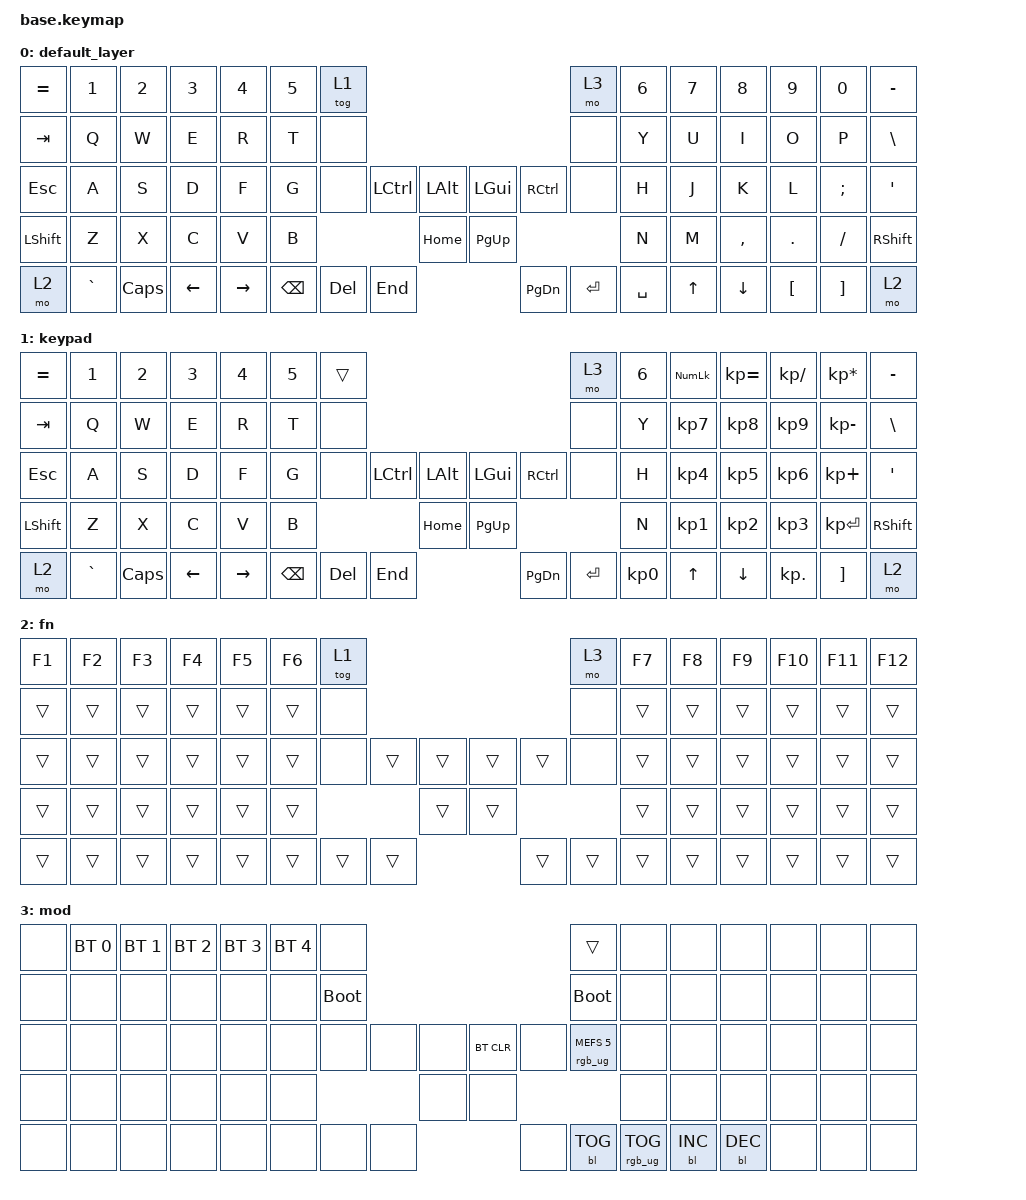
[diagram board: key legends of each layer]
#include <behaviors.dtsi>
#include <dt-bindings/zmk/keys.h>
#if CONFIG_WIRELESS
    #include <dt-bindings/zmk/bt.h>
    #define _BT_SEL_KEYS_ &bt BT_SEL 0 &bt BT_SEL 1 &bt BT_SEL 2 &bt BT_SEL 3 &bt BT_CLR
#else
    #define _BT_SEL_KEYS_ &trans &trans &trans &trans &trans
#endif

#include "../zmk-nodefree-config/helper.h"
#include "../zmk-nodefree-config/international_chars/greek.dtsi"
#include "../zmk-nodefree-config/international_chars/german.dtsi"

#define DEF 0
#define NAV 1
#define FN 2
#define NUM 3
#define SYS 4
#define UC 5
#define MOUSE 6

#include "combos.dtsi"  // requires layer aliases
#include "mouse.dtsi"
#include "extra_keys.h"

#define XXX &none
#define ___ &trans

/* Global settings */

#define QUICK_TAP_MS 175

&sk {  // sticky-key config
    release-after-ms = <900>;  // release after 0.6s
    quick-release;             // no double capitalization when rolling keys
};

&sl {  // sticky-layer config
    ignore-modifiers;          // allow chording sticky mods & layers
};

&lt {  // layer-tap config
    flavor = "balanced";
    tapping-term-ms = <200>;
    quick-tap-ms = <QUICK_TAP_MS>;
};

/* Homerow mods */

#define KEYS_L LT0 LT1 LT2 LT3 LT4 LM0 LM1 LM2 LM3 LM4 LB0 LB1 LB2 LB3 LB4  // left hand
#define KEYS_R RT0 RT1 RT2 RT3 RT4 RM0 RM1 RM2 RM3 RM4 RB0 RB1 RB2 RB3 RB4  // right hand
#define THUMBS LH2 LH1 LH0 RH0 RH1 RH2                                      // thumbs

#define MAKE_HRM(NAME, HOLD, TAP, TRIGGER_POS) \
    ZMK_BEHAVIOR(NAME, hold_tap, \
        flavor = "balanced"; \
        tapping-term-ms = <280>; \
        quick-tap-ms = <QUICK_TAP_MS>; \
        global-quick-tap-ms = <150>; \
        bindings = <HOLD>, <TAP>; \
        hold-trigger-key-positions = <TRIGGER_POS>; \
        hold-trigger-on-release; \
    )
MAKE_HRM(hml, &kp, &kp, KEYS_R THUMBS)  // left-hand HRMs
MAKE_HRM(hmr, &kp, &kp, KEYS_L THUMBS)  // right-hand HRMs

MAKE_HRM(hml_repeat, &kp, &key_repeat, KEYS_R THUMBS)  // used for HRM-combo
MAKE_HRM(hmr_lpar_lt, &kp, &lpar_lt, KEYS_L THUMBS)    // "    "   "   "
MAKE_HRM(hmr_rpar_gt, &kp, &rpar_gt, KEYS_L THUMBS)    // "    "   "   "

/* Nav cluster */

// long-tap action on hold, short-tap action on all interrupts
#define MT_CORE \
    flavor = "tap-preferred"; \
    tapping-term-ms = <220>; \
    quick-tap-ms = <220>; \
    hold-trigger-key-positions = <0>;

&mt { MT_CORE };
ZMK_BEHAVIOR(mt_home, hold_tap, bindings = <&masked_home>, <&kp>; MT_CORE)
ZMK_BEHAVIOR(mt_end,  hold_tap,  bindings = <&masked_end>, <&kp>; MT_CORE)

#define NAV_LEFT  &mt_home 0   LEFT    // tap: left  | long-tap: beginning of line
#define NAV_RIGHT &mt_end 0    RIGHT   // tap: right | long-tap: end       of line
#define NAV_UP    &mt LC(HOME) UP      // tap: up    | long-tap: beginning of document
#define NAV_DOWN  &mt LC(END)  DOWN    // tap: down  | long-tap: end       of document
#define NAV_BSPC  &mt LC(BSPC) BSPC    // tap: bspc  | long-tap: delete word backward
#define NAV_DEL   &mt LC(DEL)  DEL     // tap: del   | long-tap: delete word forward

// mask CTRL when holding left/right to avoid accidental jumps to beginning/end of document
#define MASK_MODS(NAME, MODS, BINDING) \
    ZMK_BEHAVIOR(NAME, mod_morph, \
        bindings = <BINDING>, <BINDING>; \
        mods = <MODS>; \
    )
MASK_MODS(masked_home, (MOD_LCTL), &kp HOME)
MASK_MODS(masked_end,  (MOD_LCTL), &kp END)

/* Caps-word, num-word and smart-mouse */

// tap: sticky-shift | shift + tap/ double-tap: caps-word | hold: shift
ZMK_BEHAVIOR(smart_shft, mod_morph,
    bindings = <&sk LSHFT>, <&caps_word>;
    mods = <(MOD_LSFT)>;
)
&caps_word {  // mods deactivate caps-word, requires PR #1451
    /delete-property/ ignore-modifiers;
};

// tap: num-word | double-tap: sticky num-layer | hold: num-layer
#define SMART_NUM &smart_num NUM 0
ZMK_BEHAVIOR(smart_num, hold_tap,
    flavor = "balanced";
    tapping-term-ms = <200>;
    quick-tap-ms = <QUICK_TAP_MS>;
    bindings = <&mo>, <&num_dance>;
)
ZMK_BEHAVIOR(num_dance, tap_dance,
    tapping-term-ms = <200>;
    bindings = <&num_word>, <&sl NUM>;  // reverse this for sticky-num on single tap
)
&num_word {  // num-word, requires PR #1451
    layers = <NUM>;
    continue-list = <BSPC DEL DOT COMMA PLUS MINUS STAR FSLH EQUAL>;
};

// smart-mouse, requires PR #1366
ZMK_BEHAVIOR(smart_mouse, tri_state,
    bindings = <&tog MOUSE>, <&none>, <&tog MOUSE>;
    ignored-key-positions = <LT1 LT3 RT1 RT2 RT3 RM1 RM2 RM3 RH0 RH1>;
    ignored-layers = <MOUSE>;
)

/* Custom behaviors */

// Alt+Tab swapper, requires PR #1366
ZMK_BEHAVIOR(swapper, tri_state,
    bindings = <&kt LALT>, <&kp TAB>, <&kt LALT>;
    ignored-key-positions = <LT2>;
)

// Sticky layer + sticky shift (workaround for issue #1421)
ZMK_BEHAVIOR(sls, sticky_key,
    release-after-ms = <1000>;
    bindings = <&uc_shift>;
    ignore-modifiers;
)
ZMK_BEHAVIOR(uc_shift, macro,
    wait-ms = <0>;
    tap-ms = <1>;
    bindings = <&macro_press &mo UC &kp LSHFT>
             , <&macro_pause_for_release>
             , <&macro_release &mo UC &kp LSHFT>;
)

// tap: comma | shift + tap: semicolon | ctrl + shift + tap: <
ZMK_BEHAVIOR(comma_morph, mod_morph,
    mods = <(MOD_LSFT|MOD_RSFT)>;
    bindings = <&kp COMMA>, <&comma_inner_morph>;
)
ZMK_BEHAVIOR(comma_inner_morph, mod_morph,
    bindings = <&kp SEMICOLON>, <&kp LESS_THAN>;
    mods = <(MOD_LCTL|MOD_RCTL)>;
)

// tap: dot | shift + tap: colon | ctrl + shift + tap: >
ZMK_BEHAVIOR(dot_morph, mod_morph,
    bindings = <&kp DOT>, <&dot_inner_morph>;
    mods = <(MOD_LSFT|MOD_RSFT)>;
)
ZMK_BEHAVIOR(dot_inner_morph, mod_morph,
    bindings = <&kp COLON>, <&kp GREATER_THAN>;
    mods = <(MOD_LCTL|MOD_RCTL)>;
)

// tap: qmark | shift + tap: excl
ZMK_BEHAVIOR(qexcl, mod_morph,
    bindings = <&kp QMARK>, <&kp EXCL>;
    mods = <(MOD_LSFT|MOD_RSFT)>;
)

// tap: space | shift + tap: dot -> space -> sticky shift | hold: activate layer
ZMK_BEHAVIOR(lt_spc, hold_tap,
    flavor = "balanced";
    tapping-term-ms = <200>;
    quick-tap-ms = <QUICK_TAP_MS>;
    bindings = <&mo>, <&spc_morph>;
)
ZMK_BEHAVIOR(spc_morph, mod_morph,
    bindings = <&kp SPACE>, <&dot_spc>;
    mods = <(MOD_LSFT|MOD_RSFT)>;
)
ZMK_BEHAVIOR(dot_spc, macro,
    wait-ms = <0>;
    tap-ms = <5>;
    bindings = <&kp DOT &kp SPACE &sk LSHFT>;
)

// tap: backspace | lshft + tap: delete | rshft + tap: shift-delete
ZMK_BEHAVIOR(bs_del, mod_morph,
    bindings = <&kp BSPC>, <&kp DEL>;
    mods = <(MOD_LSFT|MOD_RSFT)>;
    keep-mods = <MOD_RSFT>;
)

// tap: left-parenthesis | shft + tap: less-than
ZMK_BEHAVIOR(lpar_lt, mod_morph,
    bindings = <&kp LPAR>, <&kp LT>;
    mods = <(MOD_LSFT|MOD_RSFT)>;
)

// tap: right-parenthesis | shft + tap: greater-than
ZMK_BEHAVIOR(rpar_gt, mod_morph,
    bindings = <&kp RPAR>, <&kp GT>;
    mods = <(MOD_LSFT|MOD_RSFT)>;
)

// tap: copy | double-tap: cut
ZMK_BEHAVIOR(copy_cut, tap_dance,
    tapping-term-ms = <200>;
    bindings = <&kp LC(INS)>, <&kp LC(X)>;
)

// Windows sleep key
ZMK_BEHAVIOR(win_sleep, macro,
    wait-ms = <500>;
    tap-ms = <50>;
    bindings = <&kp LG(X) &kp U &kp S>;
)

// misc aliases
#define CANCEL      &kp K_CANCEL             // cancel caps-word, num-word and smart-mouse
#define DSK_PREV    &hmr RSHFT LG(LC(LEFT))  // previous desktop
#define DSK_NEXT    &hmr LALT LG(LC(RIGHT))  // next     desktop
#define VOL_DOWN    &hmr LCTRL C_VOL_DN

/* Keymap */

keymap {
    compatible = "zmk,keymap";

    default_layer {
      bindings = <
        &kp EQUAL &kp N1    &kp N2   &kp N3   &kp N4     &kp N5 &tog 1                                                           &mo 3 &kp N6 &kp N7 &kp N8    &kp N9   &kp N0   &kp MINUS
        &kp TAB   &kp Q     &kp W    &kp E    &kp R      &kp T  &none                                                            &none &kp Y  &kp U  &kp I     &kp O    &kp P    &kp BSLH
        &kp ESC   &kp A     &kp S    &kp D    &kp F      &kp G  &none           &kp LCTRL &kp LALT &kp LGUI  &kp RCTRL           &none &kp H  &kp J  &kp K     &kp L    &kp SEMI &kp SQT
        &kp LSHFT &kp Z     &kp X    &kp C    &kp V      &kp B                            &kp HOME &kp PG_UP                           &kp N  &kp M  &kp COMMA &kp DOT  &kp FSLH &kp RSHFT
        &mo 2     &kp GRAVE &kp CAPS &kp LEFT &kp RIGHT                &kp BSPC &kp DEL   &kp END  &kp PG_DN &kp ENTER &kp SPACE              &kp UP &kp DOWN  &kp LBKT &kp RBKT &mo 2
      >;
    };
    keypad {
      bindings = <
        &kp EQUAL &kp N1    &kp N2   &kp N3   &kp N4     &kp N5 &trans                                                           &mo 3 &kp N6 &kp KP_NUM &kp KP_EQUAL &kp KP_DIVIDE &kp KP_MULTIPLY &kp MINUS
        &kp TAB   &kp Q     &kp W    &kp E    &kp R      &kp T  &none                                                            &none &kp Y  &kp KP_N7  &kp KP_N8    &kp KP_N9     &kp KP_MINUS    &kp BSLH
        &kp ESC   &kp A     &kp S    &kp D    &kp F      &kp G  &none           &kp LCTRL &kp LALT &kp LGUI  &kp RCTRL           &none &kp H  &kp KP_N4  &kp KP_N5    &kp KP_N6     &kp KP_PLUS     &kp SQT
        &kp LSHFT &kp Z     &kp X    &kp C    &kp V      &kp B                            &kp HOME &kp PG_UP                           &kp N  &kp KP_N1  &kp KP_N2    &kp KP_N3     &kp KP_ENTER    &kp RSHFT
        &mo 2     &kp GRAVE &kp CAPS &kp LEFT &kp RIGHT                &kp BSPC &kp DEL   &kp END  &kp PG_DN &kp ENTER &kp KP_N0              &kp UP     &kp DOWN     &kp KP_DOT    &kp RBKT        &mo 2
      >;
    };
    fn {
      bindings = <
        &kp F1 &kp F2 &kp F3 &kp F4 &kp F5 &kp F6 &tog 1                                           &mo 3 &kp F7 &kp F8 &kp F9 &kp F10 &kp F11 &kp F12
        &trans &trans &trans &trans &trans &trans  &none                                           &none &trans &trans &trans &trans  &trans  &trans
        &trans &trans &trans &trans &trans &trans  &none        &trans &trans &trans &trans        &none &trans &trans &trans &trans  &trans  &trans
        &trans &trans &trans &trans &trans &trans                      &trans &trans                     &trans &trans &trans &trans  &trans  &trans
        &trans &trans &trans &trans &trans               &trans &trans &trans &trans &trans &trans              &trans &trans &trans  &trans  &trans
      >;
    };
    mod {
      bindings = <
        &none &bt BT_SEL 0 &bt BT_SEL 1 &bt BT_SEL 2 &bt BT_SEL 3 &bt BT_SEL 4 &none                                                                     &trans                 &none        &none        &none        &none &none &none
        &none &none        &none        &none        &none        &none        &bootloader                                                               &bootloader            &none        &none        &none        &none &none &none
        &none &none        &none        &none        &none        &none        &none                   &none &none &bt BT_CLR &none                      &rgb_ug RGB_MEFS_CMD 5 &none        &none        &none        &none &none &none
        &none &none        &none        &none        &none        &none                                      &none &none                                                        &none        &none        &none        &none &none &none
        &none &none        &none        &none        &none                                       &none &none &none &none      &bl BL_TOG &rgb_ug RGB_TOG                                     &bl BL_INC   &bl BL_DEC   &none &none &none
      >;
    };
  };

        
/* vim: set ft=c tw=174: */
